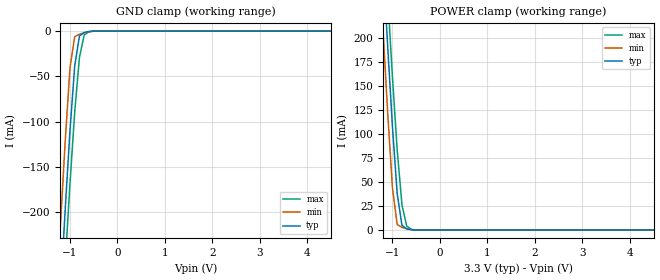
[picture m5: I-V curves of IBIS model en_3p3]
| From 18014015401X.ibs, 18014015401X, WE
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[Model]   en_3p3
Model_type   Input
Vinl = 0.99
Vinh = 2.31
|   typ   min   max
|   (nom PVT)   (fast PVT)   (slow PVT)
C_comp   3.303e-15   3.281e-15   1.158e-13
[Model spec]
|subparameter
Vinl   0.99   0.891   1.089
Vinh   2.31   2.079   2.541
| Where nom  PVT is Nominal Process, 3.3V, 27C
|   Fast PVT is Strong Process,  3.63V, -55C
|   Slow PVT is Weak Process,   2.97V, 150C
[Voltage Range]   3.3   2.97   3.63
|Ambient Temperature   25   125   -55
|Junction Temperature
[Temperature Range]   27   150   -55
[Power Clamp Reference]   3.3   2.97   3.63
[GND Clamp Reference]   0   0   0
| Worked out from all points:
|   GND clamp passes 1 mA (typ) near -0.65 V on its own axis
|   POWER clamp passes 1 mA (typ) near -0.70 V on its own axis
[GND Clamp]
-3.3V     -2.412A    -2.377A    -2.435A
-1.3V     -384.9mA   -311.3mA   -441.9mA
-1.2V     -289.3mA   -214.6mA   -347.9mA
-1.1V     -196.8mA   -121.8mA   -256.3mA
-1V       -110.3mA   -40.91mA   -168.9mA
-900mV    -38.4mA    -6.152mA   -89.52mA
-800mV    -5.474mA   -3.481mA   -29.01mA
-700mV    -1.531mA   -1.907mA   -4.308mA
-600mV    -532.3uA   -643.3uA   -627.8uA
-500mV    -84.52uA   -60.81uA   -88.69uA
6.6V      0A         0A         0A
[POWER Clamp]
-3.3V     2.317A     2.267A     2.351A
-1.2V     280.2mA    210.3mA    332.3mA
-1.1V     191.2mA    122mA      243.9mA
-1V       107.6mA    43.85mA    159.6mA
-900mV    37.75mA    5.657mA    83.35mA
-800mV    4.914mA    2.69mA     26.25mA
-700mV    1.001mA    1.317mA    3.987mA
-600mV    240.4uA    331.4uA    538.7uA
-500mV    21.06uA    14.62uA    50.53uA
6.6V      0A         0A         0A
